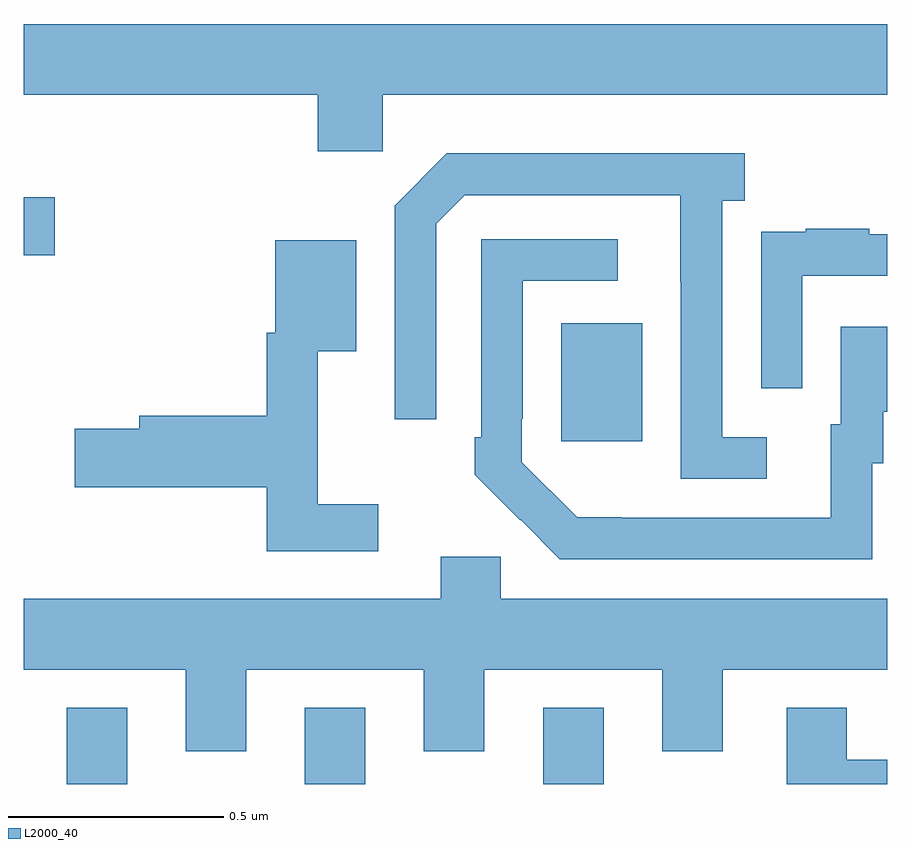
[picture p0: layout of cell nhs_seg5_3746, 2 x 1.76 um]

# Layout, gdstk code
import gdstk
lib = gdstk.Library(unit=1e-6, precision=1e-09)
def R(c, l, rs):  # rectangles x0, y0, x1, y1
    for r in rs: c.add(gdstk.rectangle(r[:2], r[2:], *l))
def A(c, l, x, y, w, h, nx, ny, dx, dy):  # array of equal rectangles
    R(c, l, [(x+i*dx, y+j*dy, x+i*dx+w, y+j*dy+h) for i in range(nx) for j in range(ny)])
def P(c, l, *ps):  # polygons
    for p in ps: c.add(gdstk.Polygon(p, *l))
L2000_40 = (2000, 40)

nhs_seg5_3746 = lib.new_cell('nhs_seg5_3746')
A(nhs_seg5_3746, L2000_40, 161.099, 885.799, 0.14, 0.177, 3, 1, 0.552, 0)
R(nhs_seg5_3746, L2000_40, [(162.245,886.593,162.433,886.867), (161,887.024,161.071,887.158)])
P(nhs_seg5_3746, L2000_40, [(161.832,887.396),(163,887.396),(163,887.56),(161,887.56),(161,887.396),(161.681,887.396),(161.681,887.265),(161.832,887.265)],
  [(162.721,886.602),(162.618,886.602),(162.618,887.15),(162.67,887.15),(162.67,887.26),(161.98,887.26),(161.859,887.139),(161.859,886.644),(161.955,886.644),(161.955,887.097),(162.021,887.163),(162.521,887.163),(162.521,886.963),(162.522,886.963),(162.522,886.506),(162.721,886.506)],
  [(162.804,886.977),(163,886.977),(163,887.073),(162.959,887.073),(162.959,887.086),(162.811,887.086),(162.811,887.079),(162.709,887.079),(162.709,886.97),(162.708,886.97),(162.708,886.716),(162.804,886.716)],
  [(162.966,886.542),(162.991,886.542),(162.991,886.661),(163,886.661),(163,886.858),(162.893,886.858),(162.893,886.632),(162.869,886.632),(162.869,886.416),(162.385,886.416),(162.385,886.417),(162.282,886.417),(162.153,886.545),(162.153,886.645),(162.156,886.645),(162.156,886.965),(162.376,886.965),(162.376,887.061),(162.06,887.061),(162.06,886.603),(162.045,886.603),(162.045,886.515),(162.15,886.41),(162.151,886.411),(162.242,886.32),(162.966,886.32)],
  [(161.821,886.447),(161.681,886.447),(161.681,886.802),(161.77,886.802),(161.77,887.059),(161.582,887.059),(161.582,886.845),(161.563,886.845),(161.563,886.652),(161.267,886.652),(161.267,886.622),(161.118,886.622),(161.118,886.487),(161.563,886.487),(161.563,886.338),(161.821,886.338)],
  [(161.515,886.064),(161.927,886.064),(161.927,885.875),(162.067,885.875),(162.067,886.064),(162.479,886.064),(162.479,885.875),(162.619,885.875),(162.619,886.064),(163,886.064),(163,886.228),(162.105,886.228),(162.105,886.326),(161.966,886.326),(161.966,886.228),(161,886.228),(161,886.064),(161.375,886.064),(161.375,885.875),(161.515,885.875)],
  [(163,885.855),(162.907,885.855),(162.907,885.976),(162.767,885.976),(162.767,885.799),(163,885.799)])

lib.write_gds('nhs_seg5_3746.gds')
